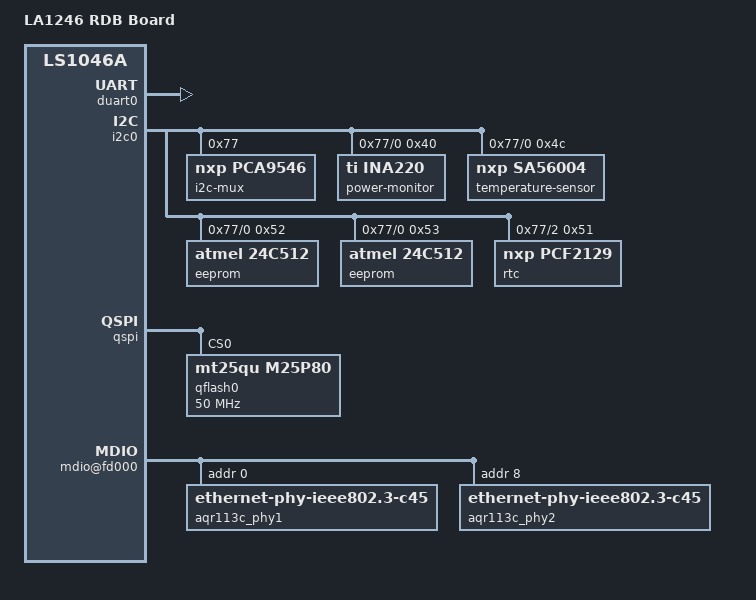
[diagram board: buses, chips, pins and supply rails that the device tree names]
// SPDX-License-Identifier: (GPL-2.0+ OR MIT)
/*
 * Device Tree Include file for Freescale Layerscape-1046A family SoC.
 *
 * Copyright 2020-2022 NXP
 *
 * Parth Girishkumar Bera <parthgirishkumar.bera@nxp.com>
 */

/dts-v1/;

#include "fsl-ls1046a.dtsi"

/ {
	model = "LA1246 RDB  Board";
	compatible = "fsl,ls1046a-rdb", "fsl,ls1046a";

	aliases {
		serial0 = &duart0;
	};

	chosen {
		stdout-path = "serial0:115200n8";
	};
};

&duart0 {
	status = "okay";
};

&esdhc {
	mmc-hs200-1_8v;
	sd-uhs-sdr104;
	sd-uhs-sdr50;
	sd-uhs-sdr25;
	sd-uhs-sdr12;
};

&i2c0 {

	status = "okay";

	i2c-mux@77 {
		compatible = "nxp,pca9546";
		reg = <0x77>;
		#address-cells = <1>;
		#size-cells = <0>;
		i2c-mux-never-disable;

		i2c@0 {
			#address-cells = <1>;
			#size-cells = <0>;
			reg = <0>;

			power-monitor@40 {
				compatible = "ti,ina220";
				reg = <0x40>;
				shunt-resistor = <1000>;
			};

			temperature-sensor@4c {
				compatible = "nxp,sa56004";
				reg = <0x4c>;
			};

			eeprom@52 {
				compatible = "atmel,24c512";
				reg = <0x52>;
			};

			eeprom@53 {
				compatible = "atmel,24c512";
				reg = <0x53>;
			};
		};

		i2c@2 {
			#address-cells = <1>;
			#size-cells = <0>;
			reg = <2>;
			rtc@51 {
				compatible = "nxp,pcf2129";
				reg = <0x51>;
			};
		};
	};
};


&ifc {
	#address-cells = <2>;
	#size-cells = <1>;
	/* NAND Flashe */
	ranges = <0x0 0x0 0x0 0x7e800000 0x00010000
		  0x2 0x0 0x0 0x7fb00000 0x00000100>;
	status = "disabled";

	nand@0,0 {
		compatible = "fsl,ifc-nand";
		#address-cells = <1>;
		#size-cells = <1>;
		reg = <0x0 0x0 0x10000>;
	};

};

&qspi {
	num-cs = <1>;
	bus-num = <0>;
	status = "okay";
	fsl,qspi-has-second-chip;

	qflash0: mt25qu512a@0 {
		compatible = "mt25qu,m25p80";
		#address-cells = <1>;
		#size-cells = <1>;
		spi-max-frequency = <50000000>;
		reg = <0>;
		spi-rx-bus-width = <4>;
		spi-tx-bus-width = <4>;
	};
};

#include "fsl-ls1046-post.dtsi"

&fman0 {
	ethernet@f0000 {
		phy-handle = <&aqr113c_phy1>;
		phy-connection-type = "xgmii";
	};

	ethernet@f2000 {
		phy-handle = <&aqr113c_phy2>;
		phy-connection-type = "xgmii";
	};

	mdio@fd000 {
		aqr113c_phy1: ethernet-phy@0 {
			compatible = "ethernet-phy-ieee802.3-c45";
			reg = <0x0>;
		};

		aqr113c_phy2: ethernet-phy@8 {
			compatible = "ethernet-phy-ieee802.3-c45";
			reg = <0x8>;
		};
	};
};
